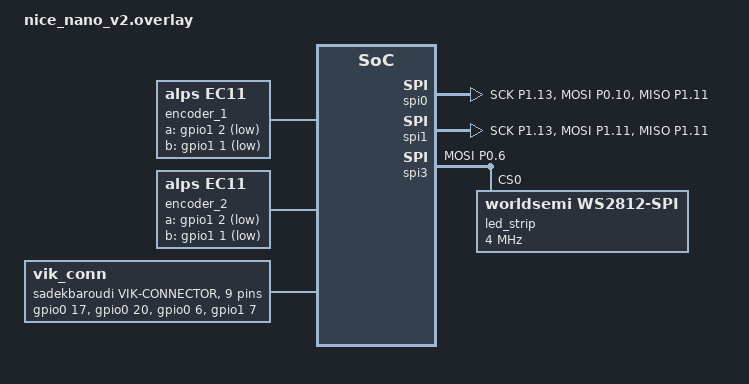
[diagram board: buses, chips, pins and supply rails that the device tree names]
#include <dt-bindings/led/led.h>

/ {
    // Left encoder
    encoder_1: encoder_1 {
        compatible = "alps,ec11";
        a-gpios = <&gpio1 2 (GPIO_ACTIVE_LOW | GPIO_PULL_UP)>;
        b-gpios = <&gpio1 1 (GPIO_ACTIVE_LOW | GPIO_PULL_UP)>;
        steps = <80>;
        status = "okay";
     };
 
     // Right encoder
     encoder_2: encoder_2 {
        compatible = "alps,ec11";
        a-gpios = <&gpio1 2 (GPIO_ACTIVE_LOW | GPIO_PULL_UP)>;
        b-gpios = <&gpio1 1 (GPIO_ACTIVE_LOW | GPIO_PULL_UP)>;
        steps = <80>;
        status = "okay";
     };
};

///////// VIK SPI and connector start
&spi0 {
    // need to remove everything here except cs-gpios after https://github.com/zmkfirmware/zmk/pull/2280 is merged
    compatible = "nordic,nrf-spim";
    pinctrl-0 = <&spi0_default>;
    pinctrl-1 = <&spi0_sleep>;
    pinctrl-names = "default", "sleep";
    cs-gpios = <&gpio0 9 GPIO_ACTIVE_LOW>;
};

// need to change to spi2, spi2_vik_pmw3610_default, spi2_vik_pmw3610_sleep after https://github.com/zmkfirmware/zmk/pull/2280 is merged
&spi1 {
    compatible = "nordic,nrf-spim";
    pinctrl-0 = <&spi1_vik_pmw3610_default>;
    pinctrl-1 = <&spi1_vik_pmw3610_sleep>;
    pinctrl-names = "default", "sleep";
};

/ {
	vik_conn: vik_connector {
		compatible = "sadekbaroudi,vik-connector";
		#gpio-cells = <2>;
		gpio-map-mask = <0xffffffff 0xffffffc0>;
		gpio-map-pass-thru = <0 0x3f>;
		gpio-map
			= <0 0 &gpio0  17 0>    /* vik SDA */
			, <1 0 &gpio0  20 0>    /* vik SCL */
			, <2 0 &gpio0  6 0>     /* vik RGB Data */
			, <3 0 &gpio1  7 0>     /* vik AD_1 */
			, <4 0 &gpio0  10 0>    /* vik MOSI */
			, <5 0 &gpio1  15 0>    /* vik AD_2 */
			, <6 0 &gpio0  9 0>     /* vik CS */
			, <7 0 &gpio1  11 0>    /* vik MISO */
			, <8 0 &gpio1  13 0>    /* vik SCLK */
			;
	};
};

// Note: vulpes minora uses pro micro pin compatible i2c and spi
vik_i2c: &pro_micro_i2c {}; // i2c0
vik_spi: &pro_micro_spi {}; // spi0 - will change to spi1 after https://github.com/zmkfirmware/zmk/pull/2280 is merged
vik_spi_pmw3610: &spi1 {}; // need to change to spi2 after https://github.com/zmkfirmware/zmk/pull/2280 is merged
///////// VIK SPI and connector end

&pinctrl {
    // VIK SPI pinctrl start
    // can remove spi0_default and spi0_sleep after https://github.com/zmkfirmware/zmk/pull/2280 is merged
    spi0_default: spi0_default {
        group1 {
            psels = <NRF_PSEL(SPIM_SCK, 1, 13)>,
                <NRF_PSEL(SPIM_MOSI, 0, 10)>,
                <NRF_PSEL(SPIM_MISO, 1, 11)>;
        };
    };

    spi0_sleep: spi0_sleep {
        group1 {
            psels = <NRF_PSEL(SPIM_SCK, 1, 13)>,
                <NRF_PSEL(SPIM_MOSI, 0, 10)>,
                <NRF_PSEL(SPIM_MISO, 1, 11)>;
            low-power-enable;
        };
    };

    // need to change to spi2_vik_pmw3610_default after https://github.com/zmkfirmware/zmk/pull/2280 is merged
    spi1_vik_pmw3610_default: spi1_vik_pmw3610_default {
        group1 {
            psels = <NRF_PSEL(SPIM_SCK, 1, 13)>,
                <NRF_PSEL(SPIM_MOSI, 1, 11)>,
                <NRF_PSEL(SPIM_MISO, 1, 11)>;
        };
    };

    // need to change to spi2_vik_pmw3610_sleep after https://github.com/zmkfirmware/zmk/pull/2280 is merged
    spi1_vik_pmw3610_sleep: spi1_vik_pmw3610_sleep {
        group1 {
            psels = <NRF_PSEL(SPIM_SCK, 1, 13)>,
                <NRF_PSEL(SPIM_MOSI, 1, 11)>,
                <NRF_PSEL(SPIM_MISO, 1, 11)>;
            low-power-enable;
        };
    };
    // VIK SPI pinctrl end

    // LED pinctrl start
    spi3_default: spi3_default {
        group1 {
            psels = <NRF_PSEL(SPIM_MOSI, 0, 6)>;
        };
    };

    spi3_sleep: spi3_sleep {
        group1 {
            psels = <NRF_PSEL(SPIM_MOSI, 0, 6)>;
            low-power-enable;
        };
    };
    // LED pinctrl end
};

// LED spi start
&spi3 {
    compatible = "nordic,nrf-spim";
    status = "okay";

    pinctrl-0 = <&spi3_default>;
    pinctrl-1 = <&spi3_sleep>;
    pinctrl-names = "default", "sleep";

    led_strip: ws2812@0 {
        compatible = "worldsemi,ws2812-spi";

        /* SPI */
        reg = <0>; /* ignored, but necessary for SPI bindings */
        spi-max-frequency = <4000000>;

        /* WS2812 */
        chain-length = <42>; /* arbitrary; change at will */
        spi-one-frame = <0x70>;
        spi-zero-frame = <0x40>;

        color-mapping = <LED_COLOR_ID_GREEN LED_COLOR_ID_RED LED_COLOR_ID_BLUE>;
    };
};
// LED spi end

/ {
    chosen {
        zmk,underglow = &led_strip;
    };
};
